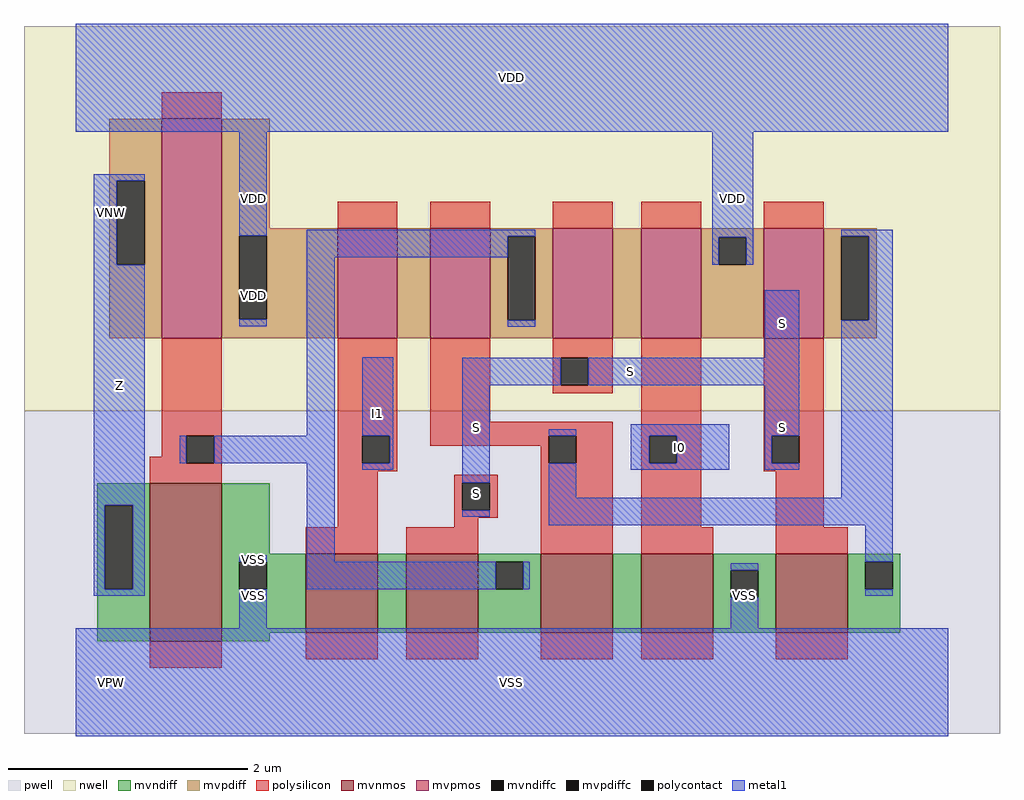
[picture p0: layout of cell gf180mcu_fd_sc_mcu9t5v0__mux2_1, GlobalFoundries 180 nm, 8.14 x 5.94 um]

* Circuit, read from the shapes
.subckt gf180mcu_fd_sc_mcu9t5v0__mux2_1 I0 I1 S Z VDD VNW VPW VSS
XM1 VSS n1 Z VPW nfet_06v0 w=1.32u l=0.6u
XM2 n2 I1 VSS VPW nfet_06v0 w=0.66u l=0.6u
XM3 n1 S n2 VPW nfet_06v0 w=0.66u l=0.6u
XM4 n3 n4 n1 VPW nfet_06v0 w=0.66u l=0.6u
XM5 VSS I0 n3 VPW nfet_06v0 w=0.66u l=0.6u
XM6 n4 S VSS VPW nfet_06v0 w=0.66u l=0.6u
XM7 VDD n1 Z VNW pfet_06v0 w=1.83u l=0.5u
XM8 n5 I1 VDD VNW pfet_06v0 w=0.915u l=0.5u
XM9 n1 n4 n5 VNW pfet_06v0 w=0.915u l=0.5u
XM10 n6 S n1 VNW pfet_06v0 w=0.915u l=0.5u
XM11 VDD I0 n6 VNW pfet_06v0 w=0.915u l=0.5u
XM12 n4 S VDD VNW pfet_06v0 w=0.915u l=0.5u
.ends

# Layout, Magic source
magic
tech gf180mcuD
magscale 1 10
<< nwell >>
rect -86 453 1542 1094
<< pwell >>
rect -86 -86 1542 453
<< mvnmos >>
rect 124 68 244 332
rect 384 82 504 214
rect 552 82 672 214
rect 776 82 896 214
rect 944 82 1064 214
rect 1168 82 1288 214
<< mvpmos >>
rect 144 574 244 940
rect 437 574 537 757
rect 592 574 692 757
rect 796 574 896 757
rect 944 574 1044 757
rect 1148 574 1248 757
<< mvndiff >>
rect 36 295 124 332
rect 36 155 49 295
rect 95 155 124 295
rect 36 68 124 155
rect 244 214 324 332
rect 244 201 384 214
rect 244 155 273 201
rect 319 155 384 201
rect 244 82 384 155
rect 504 82 552 214
rect 672 201 776 214
rect 672 155 701 201
rect 747 155 776 201
rect 672 82 776 155
rect 896 82 944 214
rect 1064 187 1168 214
rect 1064 141 1093 187
rect 1139 141 1168 187
rect 1064 82 1168 141
rect 1288 201 1376 214
rect 1288 155 1317 201
rect 1363 155 1376 201
rect 1288 82 1376 155
rect 244 68 324 82
<< mvpdiff >>
rect 56 836 144 940
rect 56 696 69 836
rect 115 696 144 836
rect 56 574 144 696
rect 244 757 324 940
rect 244 745 437 757
rect 244 605 273 745
rect 319 605 437 745
rect 244 574 437 605
rect 537 574 592 757
rect 692 744 796 757
rect 692 604 721 744
rect 767 604 796 744
rect 692 574 796 604
rect 896 574 944 757
rect 1044 742 1148 757
rect 1044 696 1073 742
rect 1119 696 1148 742
rect 1044 574 1148 696
rect 1248 744 1336 757
rect 1248 604 1277 744
rect 1323 604 1336 744
rect 1248 574 1336 604
<< mvndiffc >>
rect 49 155 95 295
rect 273 155 319 201
rect 701 155 747 201
rect 1093 141 1139 187
rect 1317 155 1363 201
<< mvpdiffc >>
rect 69 696 115 836
rect 273 605 319 745
rect 721 604 767 744
rect 1073 696 1119 742
rect 1277 604 1323 744
<< polysilicon >>
rect 144 940 244 984
rect 437 757 537 801
rect 592 757 692 801
rect 796 757 896 801
rect 944 757 1044 801
rect 1148 757 1248 801
rect 144 411 244 574
rect 144 376 185 411
rect 124 365 185 376
rect 231 365 244 411
rect 124 332 244 365
rect 437 411 537 574
rect 437 365 478 411
rect 524 365 537 411
rect 592 434 692 574
rect 796 541 896 574
rect 796 495 809 541
rect 855 495 896 541
rect 796 482 896 495
rect 592 411 896 434
rect 592 394 789 411
rect 437 352 537 365
rect 776 365 789 394
rect 835 365 896 411
rect 437 258 504 352
rect 632 333 704 346
rect 632 287 645 333
rect 691 287 704 333
rect 632 274 704 287
rect 632 258 672 274
rect 384 214 504 258
rect 552 214 672 258
rect 776 214 896 365
rect 944 411 1044 574
rect 944 365 957 411
rect 1003 365 1044 411
rect 944 258 1044 365
rect 1148 411 1248 574
rect 1148 365 1161 411
rect 1207 365 1248 411
rect 1148 352 1248 365
rect 1168 258 1248 352
rect 944 214 1064 258
rect 1168 214 1288 258
rect 124 24 244 68
rect 384 38 504 82
rect 552 38 672 82
rect 776 38 896 82
rect 944 38 1064 82
rect 1168 38 1288 82
<< polycontact >>
rect 185 365 231 411
rect 478 365 524 411
rect 809 495 855 541
rect 789 365 835 411
rect 645 287 691 333
rect 957 365 1003 411
rect 1161 365 1207 411
<< metal1 >>
rect 0 918 1456 1098
rect 30 836 115 847
rect 30 696 69 836
rect 30 295 115 696
rect 273 745 319 918
rect 273 594 319 605
rect 386 744 767 755
rect 386 709 721 744
rect 386 411 432 709
rect 1062 742 1130 918
rect 1062 696 1073 742
rect 1119 696 1130 742
rect 1277 744 1363 755
rect 721 593 767 604
rect 174 365 185 411
rect 231 365 432 411
rect 30 155 49 295
rect 95 155 115 295
rect 30 144 115 155
rect 273 201 319 212
rect 386 201 432 365
rect 478 411 530 542
rect 1150 541 1207 654
rect 524 365 530 411
rect 478 354 530 365
rect 645 495 809 541
rect 855 495 1207 541
rect 645 333 691 495
rect 645 276 691 287
rect 789 411 835 422
rect 789 308 835 365
rect 926 411 1090 430
rect 926 365 957 411
rect 1003 365 1090 411
rect 926 354 1090 365
rect 1150 411 1207 495
rect 1150 365 1161 411
rect 1150 354 1207 365
rect 1323 604 1363 744
rect 1277 308 1363 604
rect 789 262 1363 308
rect 1317 201 1363 262
rect 386 155 701 201
rect 747 155 758 201
rect 1093 187 1139 198
rect 273 90 319 155
rect 1317 144 1363 155
rect 1093 90 1139 141
rect 0 -90 1456 90
<< labels >>
flabel metal1 s 926 354 1090 430 0 FreeSans 200 0 0 0 I0
port 1 nsew default input
flabel metal1 s 478 354 530 542 0 FreeSans 200 0 0 0 I1
port 2 nsew default input
flabel metal1 s 1150 541 1207 654 0 FreeSans 200 0 0 0 S
port 3 nsew default input
flabel metal1 s 0 918 1456 1098 0 FreeSans 200 0 0 0 VDD
port 5 nsew power bidirectional abutment
flabel metal1 s 273 198 319 212 0 FreeSans 200 0 0 0 VSS
port 8 nsew ground bidirectional abutment
flabel metal1 s 30 144 115 847 0 FreeSans 200 0 0 0 Z
port 4 nsew default output
flabel nwell s 10 734 110 834 0 FreeSans 400 0 0 0 VNW
port 6 nsew power bidirectional
flabel pwell s 10 -50 110 50 0 FreeSans 400 0 0 0 VPW
port 7 nsew ground bidirectional
rlabel metal1 s 645 495 1207 541 1 S
port 3 nsew default input
rlabel metal1 s 1150 354 1207 495 1 S
port 3 nsew default input
rlabel metal1 s 645 354 691 495 1 S
port 3 nsew default input
rlabel metal1 s 645 276 691 354 1 S
port 3 nsew default input
rlabel metal1 s 1062 696 1130 918 1 VDD
port 5 nsew power bidirectional abutment
rlabel metal1 s 273 696 319 918 1 VDD
port 5 nsew power bidirectional abutment
rlabel metal1 s 273 594 319 696 1 VDD
port 5 nsew power bidirectional abutment
rlabel metal1 s 1093 90 1139 198 1 VSS
port 8 nsew ground bidirectional abutment
rlabel metal1 s 273 90 319 198 1 VSS
port 8 nsew ground bidirectional abutment
rlabel metal1 s 0 -90 1456 90 1 VSS
port 8 nsew ground bidirectional abutment
<< properties >>
string FIXED_BBOX 0 0 1456 1008
string GDS_END 1073614
string GDS_FILE $PDKPATH/libs.ref/gf180mcu_fd_sc_mcu9t5v0/gds/gf180mcu_fd_sc_mcu9t5v0.gds
string GDS_START 1069324
string LEFclass core
string LEFsite GF018hv5v_green_sc9
string LEFsymmetry X Y
<< end >>
